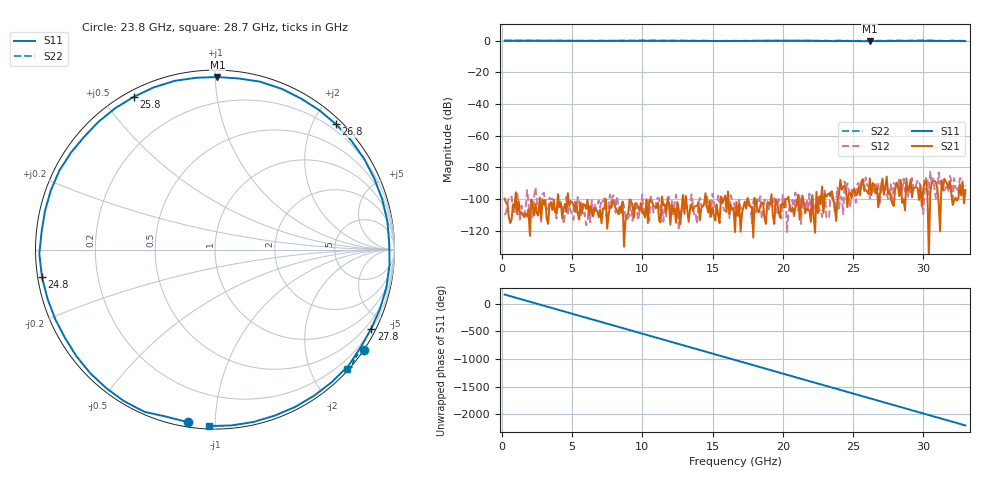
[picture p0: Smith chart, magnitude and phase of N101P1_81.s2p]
# GHZ S RI R 50
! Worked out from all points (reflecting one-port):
!   329 points, 200 MHz to 33 GHz, reference 50 ohm
!   lowest |S11| = -0.3 dB at 26.2 GHz (marker M1), VSWR 50.98, Z = 1.99 + j50.7 ohm
!   phase of S11 starts at 165 deg and turns -2369 deg over the sweep
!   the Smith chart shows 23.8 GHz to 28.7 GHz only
!   S11 on the Smith chart (normalised r, x): 23.8 GHz: 0.02, -0.86; 24.8 GHz: 0.01, -0.08; 25.8 GHz: 0.02, +0.60; 26.8 GHz: 0.10, +2.35; 27.8 GHz: 0.23, -4.18; 28.7 GHz: 0.02, -0.97
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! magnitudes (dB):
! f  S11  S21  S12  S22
! 200 MHz  0.0  -99.7  -110.2  0.0
! 5.7 GHz  -0.1  -109.2  -101.6  -0.1
! 11.2 GHz  -0.1  -113.6  -99.7  0.0
! 16.6 GHz  -0.2  -121.0  -105.0  -0.1
! 22.1 GHz  -0.1  -98.1  -97.5  0.0
! 22.6 GHz  -0.2  -98.3  -107.9  -0.1
! 23 GHz  -0.1  -96.6  -94.6  0.0
! 23.4 GHz  -0.3  -98.2  -95.5  -0.2
! 23.8 GHz  -0.2  -113.9  -100.9  0.0
! 24 GHz  -0.1  -97.5  -106.1  0.1
! 24.8 GHz  -0.2  -96.3  -105.5  -0.1
! 25.8 GHz  -0.3  -94.1  -95.8  -0.2
! 26.2 GHz  -0.3  -87.0  -99.9  -0.1
! 26.8 GHz  -0.3  -105.3  -89.8  -0.1
! 27.6 GHz  -0.2  -95.1  -94.9  0.0
! 27.8 GHz  -0.2  -102.7  -103.3  0.0
! 28.7 GHz  -0.1  -107.1  -95.1  -0.1
! 30.4 GHz  -0.1  -136.8  -97.2  0.1
! 31.4 GHz  -0.3  -94.3  -94.7  -0.2
! 31.8 GHz  -0.2  -93.5  -94.9  -0.2
! 32 GHz  -0.1  -96.5  -88.3  0.0
! 33 GHz  -0.3  -94.6  -91.4  -0.1
